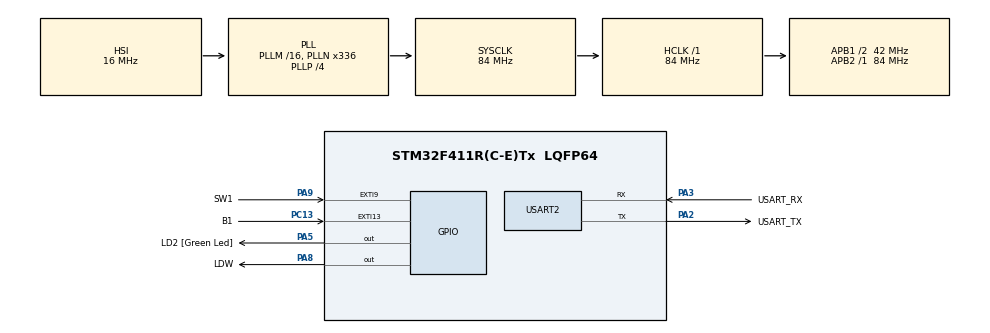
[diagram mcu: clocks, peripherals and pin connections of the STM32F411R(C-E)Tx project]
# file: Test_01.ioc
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Mcu.Family=STM32F4
Mcu.Name=STM32F411R(C-E)Tx
Mcu.Package=LQFP64
NVIC.EXTI15_10_IRQn=true\:0\:0\:false\:false\:true\:true\:true\:true
NVIC.EXTI9_5_IRQn=true\:0\:0\:false\:false\:true\:true\:true\:true
NVIC.PriorityGroup=NVIC_PRIORITYGROUP_0
PA13.GPIO_Label=TMS
PA13.Mode=Serial_Wire
PA13.Signal=SYS_JTMS-SWDIO
PA14.GPIO_Label=TCK
PA14.Mode=Serial_Wire
PA14.Signal=SYS_JTCK-SWCLK
PA2.GPIO_Label=USART_TX
PA2.Mode=Asynchronous
PA2.Signal=USART2_TX
PA3.GPIO_Label=USART_RX
PA3.Mode=Asynchronous
PA3.Signal=USART2_RX
PA5.GPIO_Label=LD2 [Green Led]
PA5.Signal=GPIO_Output
PA8.GPIO_Label=LDW
PA8.Signal=GPIO_Output
PA9.GPIO_Label=SW1
PA9.Signal=GPXTI9
PB3.GPIO_Label=SWO
PB3.Signal=SYS_JTDO-SWO
PC13-ANTI_TAMP.GPIO_Label=B1
PC13-ANTI_TAMP.Signal=GPXTI13
PC14-OSC32_IN.Mode=LSE-External-Oscillator
PC14-OSC32_IN.Signal=RCC_OSC32_IN
PC15-OSC32_OUT.Mode=LSE-External-Oscillator
PC15-OSC32_OUT.Signal=RCC_OSC32_OUT
PH0\ -\ OSC_IN.Mode=HSE-External-Clock-Source
PH0\ -\ OSC_IN.Signal=RCC_OSC_IN
PH1\ -\ OSC_OUT.Mode=HSE-External-Clock-Source
PH1\ -\ OSC_OUT.Signal=RCC_OSC_OUT
ProjectManager.HeapSize=0x200
ProjectManager.StackSize=0x400
ProjectManager.TargetToolchain=STM32CubeIDE
RCC.48MHZClocksFreq_Value=84000000
RCC.AHBFreq_Value=84000000
RCC.APB1CLKDivider=RCC_HCLK_DIV2
RCC.APB1Freq_Value=42000000
RCC.APB1TimFreq_Value=84000000
RCC.APB2Freq_Value=84000000
RCC.APB2TimFreq_Value=84000000
RCC.CortexFreq_Value=84000000
RCC.FLatency-AdvancedSettings=FLASH_LATENCY_2
RCC.HCLKFreq_Value=84000000
RCC.HSE_VALUE=8000000
RCC.HSI_VALUE=16000000
RCC.PLLN=336
RCC.PLLP=RCC_PLLP_DIV4
RCC.SYSCLKFreq_VALUE=84000000
RCC.SYSCLKSource=RCC_SYSCLKSOURCE_PLLCLK
RCC.VCOOutputFreq_Value=336000000
USART2.VirtualMode=VM_ASYNC
board=NUCLEO-F411RE

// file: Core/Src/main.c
/* USER CODE BEGIN Header */
/**
  ******************************************************************************
  * @file           : main.c
  * @brief          : Main program body
  ******************************************************************************
  * @attention
  *
  * Copyright (c) 2024 STMicroelectronics.
  * All rights reserved.
  *
  * This software is licensed under terms that can be found in the LICENSE file
  * in the root directory of this software component.
  * If no LICENSE file comes with this software, it is provided AS-IS.
  *
  ******************************************************************************
  */
/* USER CODE END Header */
#include "main.h"

/* USER CODE BEGIN Includes */
#include <stdio.h>
/* USER CODE END Includes */

UART_HandleTypeDef huart2;

void SystemClock_Config(void);
static void MX_GPIO_Init(void);
static void MX_USART2_UART_Init(void);

/* USER CODE BEGIN 0 */
void StandBy()
{
	 // while(HAL_GPIO_ReadPin(B1_GPIO_Port,B1_Pin));
}
int mode = 0;
int time = 1000;
void HAL_GPIO_EXTI_Callback(uint16_t GPIO_Pin) // External Interrupt ISR
{
	switch(GPIO_Pin)
	{
		case B1_Pin:
			if(mode==0) mode = 1;
			else mode = 0;
		break;
		case SW1_Pin:
			time -= 100;
			if(time <= 0) time = 1000;
		break;
	}
}
/* USER CODE END 0 */

int main(void)
{

  /* MCU Configuration--------------------------------------------------------*/

  /* Reset of all peripherals, Initializes the Flash interface and the Systick. */
  HAL_Init();

  /* Configure the system clock */
  SystemClock_Config();

  /* Initialize all configured peripherals */
  MX_GPIO_Init();
  MX_USART2_UART_Init();
  /* USER CODE BEGIN 2 */
  StandBy();

  /* USER CODE END 2 */

  /* Infinite loop */
  while (1)
  {

    /* USER CODE BEGIN 3 */
   if(mode)
  {
	  HAL_GPIO_TogglePin(LDW_GPIO_Port, LDW_Pin);
	  HAL_Delay(time);
  }
 }
  /* USER CODE END 3 */
}

void SystemClock_Config(void)
{
  RCC_OscInitTypeDef RCC_OscInitStruct = {0};
  RCC_ClkInitTypeDef RCC_ClkInitStruct = {0};

  /** Configure the main internal regulator output voltage
  */
  __HAL_RCC_PWR_CLK_ENABLE();
  __HAL_PWR_VOLTAGESCALING_CONFIG(PWR_REGULATOR_VOLTAGE_SCALE1);

  /** Initializes the RCC Oscillators according to the specified parameters
  * in the RCC_OscInitTypeDef structure.
  */
  RCC_OscInitStruct.OscillatorType = RCC_OSCILLATORTYPE_HSI;
  RCC_OscInitStruct.HSIState = RCC_HSI_ON;
  RCC_OscInitStruct.HSICalibrationValue = RCC_HSICALIBRATION_DEFAULT;
  RCC_OscInitStruct.PLL.PLLState = RCC_PLL_ON;
  RCC_OscInitStruct.PLL.PLLSource = RCC_PLLSOURCE_HSI;
  RCC_OscInitStruct.PLL.PLLM = 16;
  RCC_OscInitStruct.PLL.PLLN = 336;
  RCC_OscInitStruct.PLL.PLLP = RCC_PLLP_DIV4;
  RCC_OscInitStruct.PLL.PLLQ = 4;
  if (HAL_RCC_OscConfig(&RCC_OscInitStruct) != HAL_OK)
  {
    Error_Handler();
  }

  /** Initializes the CPU, AHB and APB buses clocks
  */
  RCC_ClkInitStruct.ClockType = RCC_CLOCKTYPE_HCLK|RCC_CLOCKTYPE_SYSCLK
                              |RCC_CLOCKTYPE_PCLK1|RCC_CLOCKTYPE_PCLK2;
  RCC_ClkInitStruct.SYSCLKSource = RCC_SYSCLKSOURCE_PLLCLK;
  RCC_ClkInitStruct.AHBCLKDivider = RCC_SYSCLK_DIV1;
  RCC_ClkInitStruct.APB1CLKDivider = RCC_HCLK_DIV2;
  RCC_ClkInitStruct.APB2CLKDivider = RCC_HCLK_DIV1;

  if (HAL_RCC_ClockConfig(&RCC_ClkInitStruct, FLASH_LATENCY_2) != HAL_OK)
  {
    Error_Handler();
  }
}

static void MX_USART2_UART_Init(void)
{

  huart2.Instance = USART2;
  huart2.Init.BaudRate = 115200;
  huart2.Init.WordLength = UART_WORDLENGTH_8B;
  huart2.Init.StopBits = UART_STOPBITS_1;
  huart2.Init.Parity = UART_PARITY_NONE;
  huart2.Init.Mode = UART_MODE_TX_RX;
  huart2.Init.HwFlowCtl = UART_HWCONTROL_NONE;
  huart2.Init.OverSampling = UART_OVERSAMPLING_16;
  if (HAL_UART_Init(&huart2) != HAL_OK)
  {
    Error_Handler();
  }

}

static void MX_GPIO_Init(void)
{
  GPIO_InitTypeDef GPIO_InitStruct = {0};

  /* GPIO Ports Clock Enable */
  __HAL_RCC_GPIOC_CLK_ENABLE();
  __HAL_RCC_GPIOH_CLK_ENABLE();
  __HAL_RCC_GPIOA_CLK_ENABLE();
  __HAL_RCC_GPIOB_CLK_ENABLE();

  /*Configure GPIO pin Output Level */
  HAL_GPIO_WritePin(GPIOA, LD2_Pin|LDW_Pin, GPIO_PIN_RESET);

  /*Configure GPIO pin : B1_Pin */
  GPIO_InitStruct.Pin = B1_Pin;
  GPIO_InitStruct.Mode = GPIO_MODE_IT_RISING;
  GPIO_InitStruct.Pull = GPIO_NOPULL;
  HAL_GPIO_Init(B1_GPIO_Port, &GPIO_InitStruct);

  /*Configure GPIO pins : LD2_Pin LDW_Pin */
  GPIO_InitStruct.Pin = LD2_Pin|LDW_Pin;
  GPIO_InitStruct.Mode = GPIO_MODE_OUTPUT_PP;
  GPIO_InitStruct.Pull = GPIO_NOPULL;
  GPIO_InitStruct.Speed = GPIO_SPEED_FREQ_LOW;
  HAL_GPIO_Init(GPIOA, &GPIO_InitStruct);

  /*Configure GPIO pin : SW1_Pin */
  GPIO_InitStruct.Pin = SW1_Pin;
  GPIO_InitStruct.Mode = GPIO_MODE_IT_RISING;
  GPIO_InitStruct.Pull = GPIO_NOPULL;
  HAL_GPIO_Init(SW1_GPIO_Port, &GPIO_InitStruct);

  /* EXTI interrupt init*/
  HAL_NVIC_SetPriority(EXTI9_5_IRQn, 0, 0);
  HAL_NVIC_EnableIRQ(EXTI9_5_IRQn);

  HAL_NVIC_SetPriority(EXTI15_10_IRQn, 0, 0);
  HAL_NVIC_EnableIRQ(EXTI15_10_IRQn);

}

void Error_Handler(void)
{
  __disable_irq();
  while (1)
  {
  }
}
